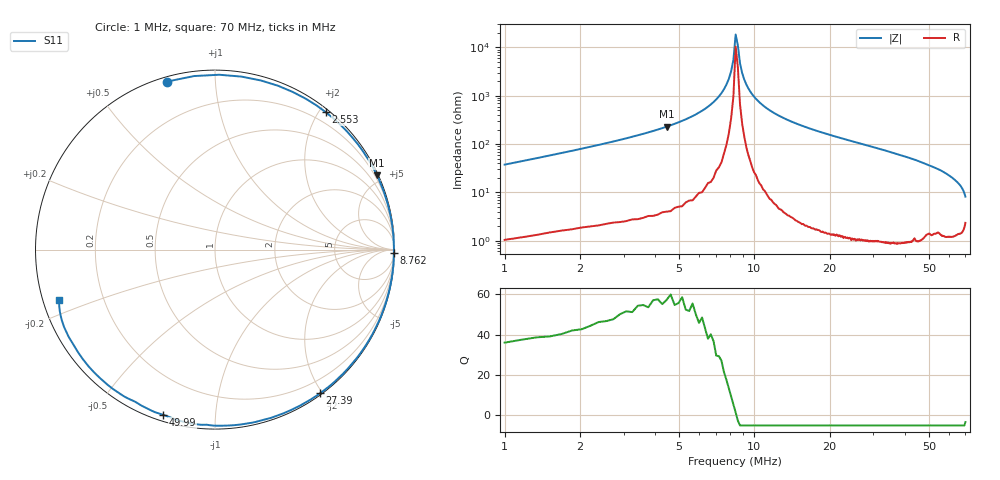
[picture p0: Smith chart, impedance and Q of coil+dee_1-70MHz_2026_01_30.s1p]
# HZ S RI R 50
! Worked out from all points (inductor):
!   401 points, 1 MHz to 70 MHz, reference 50 ohm
!   read as one part to ground: L = 5.92 uH near 1.345 MHz
!   highest Q = 57.1 at 4.45 MHz (marker M1), where L = 8.2 uH
!   self-resonance near 8.418 MHz
!   S11 on the Smith chart (normalised r, x): 1 MHz: 0.02, +0.75; 2.553 MHz: 0.04, +2.09; 8.762 MHz: 13, -93; 27.39 MHz: 0.02, -1.97; 49.99 MHz: 0.03, -0.73; 70 MHz: 0.05, -0.16
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1000000  -0.2698 0.9356
1172500  -0.1163 0.967
1517500  0.1479 0.9638
1862500  0.3513 0.9128
2207500  0.5043 0.8413
2552500  0.618 0.7651
2897500  0.7043 0.6903
3415000  0.7965 0.5866
4450000  0.9027 0.4131
6347500  0.9787 0.1837
8762500  0.9968 -0.021
9625000  0.9937 -0.0808
1.342e7  0.9511 -0.2983
1.825e7  0.8534 -0.5124
2.239e7  0.7433 -0.6596
2.6875e7  0.6024 -0.7877
2.73925e7  0.585 -0.8005
3.136e7  0.4438 -0.8843
3.55e7  0.286 -0.9448
3.98125e7  0.1144 -0.9773
4.4125e7  -0.0582 -0.9765
4.999e7  -0.2884 -0.9203
5.275e7  -0.3876 -0.8798
5.67175e7  -0.5229 -0.8071
6.1375e7  -0.6733 -0.6845
6.6895e7  -0.8167 -0.4834
6.84475e7  -0.8507 -0.4024
7e7  -0.8684 -0.2802
